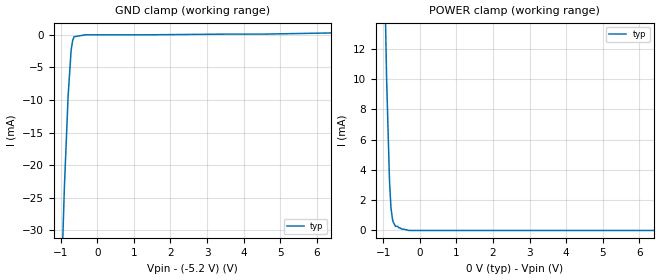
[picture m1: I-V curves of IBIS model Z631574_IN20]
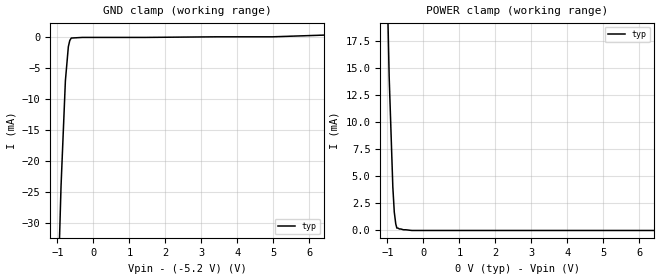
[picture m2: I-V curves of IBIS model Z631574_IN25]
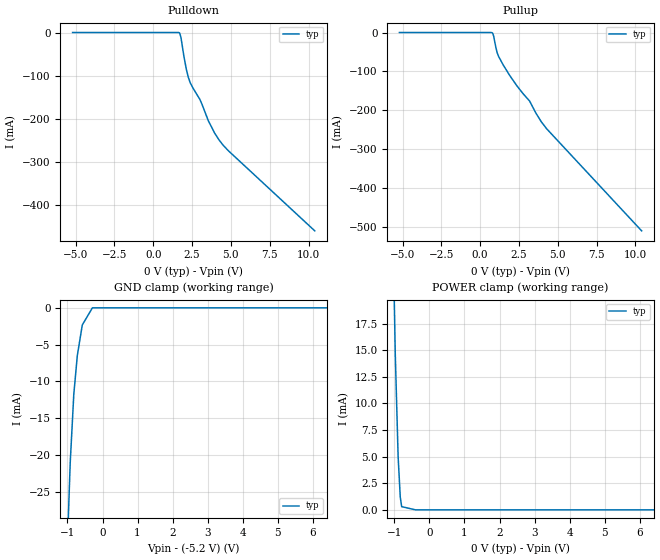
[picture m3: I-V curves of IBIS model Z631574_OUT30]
| YOU ARE ONLY AUTHORIZED TO USE THIS SOFTWARE
| ACCORDING TO LICENSOR'S LICENSE RESTRICTIONS.
[IBIS Ver] 3.1
[File Name] mc10ep016fa_-52.ibs
[File Rev] 2.0
[Source] Measured and created by ICX Technology
[Date] Wednesday 11/22/00 2:13:50 PM
[Copyright]
| (C) COPYRIGHT 1993-2000
| MENTOR GRAPHICS CORPORATION
| ICX STANDARD LIBRARY, ICX PROJECT MODELING,
| ICX CUSTOM MODELING, ICX VENDOR MODEL
| ALL RIGHTS RESERVED.
| THE FOLLOWING ARE TRADEMARKS OR SERVICE MARKS OF
| MENTOR GRAPHICS CORPORATION:ICX (R), ICX STANDARD
| LIBRARY(R), ICX PROJECT MODELING(R), ICX CUSTOM
| MODELING(R), qualityIBIS(TM), MODELVIEWER(TM),
| AND MODELEDITOR(TM)
| ALL COPIES OF SOFTWARE, INCLUDING BUT NOT LIMITED TO
| ANY MODIFICATIONS, ENHANCEMENTS OR DERIVATIVE WORKS,
| MUST CONTAIN ALL MENTOR GRAPHICS CORPORATION'S
| NOTICES AND LEGENDS, INCLUDING THOSE EMBEDDED IN
| SOFTWARE AND THOSE AFFIXED TO SOFTWARE MEDIUM
| AND CONTAINER, AS RECEIVED FROM MENTOR GRAPHICS
| CORPORATION.
|  ZAP Model Builder 2.8
[Component] MC10EP016FA_-52
[Manufacturer] OnSemiconductor
[Package]
| variable   typ   min   max
R_pkg  .067ohms NA NA
L_pkg  4.211nH NA NA
C_pkg  1.002pF NA NA
[Pin] signal_name  model_name  R_pin  L_pin C_pin
1 VCC POWER .065 3.973n .928p
2 Q3 Z631574_OUT30 .066 4.127n .978p
3 Q4 Z631574_OUT30 .068 4.288n 1.027p
4 Q5 Z631574_OUT30 .069 4.455n 1.077p
5 Q6 Z631574_OUT30 .069 4.455n 1.077p
6 Q7 Z631574_OUT30 .068 4.288n 1.027p
7 TCLD Z631574_IN25 .066 4.127n .978p
8 VCC POWER .065 3.973n .928p
9 VEE POWER .065 3.973n .928p
10 COUT Z631574_OUT30 .066 4.127n .978p
11 _COUT Z631574_OUT30 .068 4.288n 1.027p
12 _TC Z631574_OUT30 .069 4.455n 1.077p
13 VCC POWER .069 4.455n 1.077p
14 P7 Z631574_IN20 .068 4.288n 1.027p
15 P6 Z631574_IN20 .066 4.127n .978p
16 P5 Z631574_IN20 .065 3.973n .928p
17 P4 Z631574_IN20 .065 3.973n .928p
18 P3 Z631574_IN20 .066 4.127n .978p
19 P2 Z631574_IN20 .068 4.288n 1.027p
20 P1 Z631574_IN20 .069 4.455n 1.077p
21 P0 Z631574_IN20 .069 4.455n 1.077p
22 CLK Z631574_IN25 .068 4.288n 1.027p
23 _CLK Z631574_IN25 .066 4.127n .978p
24 VBB POWER .065 3.973n .928p
25 _PE Z631574_IN25 .065 3.973n .928p
26 _CE Z631574_IN25 .066 4.127n .978p
27 MR Z631574_IN25 .068 4.288n 1.027p
28 VEE POWER .069 4.455n 1.077p
29 Q0 Z631574_OUT30 .069 4.455n 1.077p
30 Q1 Z631574_OUT30 .068 4.288n 1.027p
31 Q2 Z631574_OUT30 .066 4.127n .978p
32 VCC POWER .065 3.973n .928p
[Diff Pin] inv_pin vdiff tdelay_typ tdelay_min tdelay_max
10 11 NA NA NA NA
22 23 NA NA NA NA
| Models and submodels in the file (3): Z631574_IN20 (Input_ECL), Z631574_IN25 (Input_ECL), Z631574_OUT30 (Output_ECL)
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| (C) COPYRIGHT 1993-2000
| MENTOR GRAPHICS CORPORATION
| ICX STANDARD LIBRARY, ICX PROJECT MODELING,
| ICX CUSTOM MODELING, ICX VENDOR MODEL
| ALL RIGHTS RESERVED.
| THE FOLLOWING ARE TRADEMARKS OR SERVICE MARKS OF
| MENTOR GRAPHICS CORPORATION:ICX (R), ICX STANDARD
| LIBRARY(R), ICX PROJECT MODELING(R), ICX CUSTOM
| MODELING(R), qualityIBIS(TM), MODELVIEWER(TM),
| AND MODELEDITOR(TM)
| ALL COPIES OF SOFTWARE, INCLUDING BUT NOT LIMITED TO
| ANY MODIFICATIONS, ENHANCEMENTS OR DERIVATIVE WORKS,
| MUST CONTAIN ALL MENTOR GRAPHICS CORPORATION'S
| NOTICES AND LEGENDS, INCLUDING THOSE EMBEDDED IN
| SOFTWARE AND THOSE AFFIXED TO SOFTWARE MEDIUM
| AND CONTAINER, AS RECEIVED FROM MENTOR GRAPHICS
| CORPORATION.
| Model Application Version 1.89 2/18/99.
[Model] Z631574_IN20
Model_type Input_ECL
Vinl = -1.545V
Vinh = -1.145V
C_comp 3.000pF NA NA
| variable typ   min   max
[Voltage Range] -5.200V NA NA
[GND Clamp Reference] -5.200V NA NA
[POWER Clamp Reference] 0.000V NA NA
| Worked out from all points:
|   GND clamp passes 1 mA (typ) near -0.68 V on its own axis
|   POWER clamp passes 1 mA (typ) near -0.76 V on its own axis
[GND Clamp]
-5.2V     -794.4mA   NA         NA
-901mV    -23.1mA    NA         NA
-800mV    -9.3mA     NA         NA
-719mV    -2.4mA     NA         NA
-678mV    -900uA     NA         NA
-638mV    -300uA     NA         NA
-319mV    0A         NA         NA
1.45V     0A         NA         NA
3.477V    100uA      NA         NA
4.51V     100uA      NA         NA
10.4V     669.9uA    NA         NA
[POWER Clamp]
-5.2V     700mA      NA         NA
-1.054V   28.83mA    NA         NA
-912mV    10.15mA    NA         NA
-831mV    3.253mA    NA         NA
-790mV    1.457mA    NA         NA
-750mV    760.7uA    NA         NA
-730mV    562.7uA    NA         NA
-669mV    274.5uA    NA         NA
-608mV    274.5uA    NA         NA
-496.5mV  90.13uA    NA         NA
-297.3mV  0A         NA         NA
10.4V     0A         NA         NA
| (C) COPYRIGHT 1993-2000
| MENTOR GRAPHICS CORPORATION
| ICX STANDARD LIBRARY, ICX PROJECT MODELING,
| ICX CUSTOM MODELING, ICX VENDOR MODEL
| ALL RIGHTS RESERVED.
| THE FOLLOWING ARE TRADEMARKS OR SERVICE MARKS OF
| MENTOR GRAPHICS CORPORATION:ICX (R), ICX STANDARD
| LIBRARY(R), ICX PROJECT MODELING(R), ICX CUSTOM
| MODELING(R), qualityIBIS(TM), MODELVIEWER(TM),
| AND MODELEDITOR(TM)
| ALL COPIES OF SOFTWARE, INCLUDING BUT NOT LIMITED TO
| ANY MODIFICATIONS, ENHANCEMENTS OR DERIVATIVE WORKS,
| MUST CONTAIN ALL MENTOR GRAPHICS CORPORATION'S
| NOTICES AND LEGENDS, INCLUDING THOSE EMBEDDED IN
| SOFTWARE AND THOSE AFFIXED TO SOFTWARE MEDIUM
| AND CONTAINER, AS RECEIVED FROM MENTOR GRAPHICS
| CORPORATION.
| Model Application Version 1.89 2/18/99.
[Model] Z631574_IN25
Model_type Input_ECL
Vinl = -1.545V
Vinh = -1.145V
C_comp 3.000pF NA NA
| variable typ   min   max
[Voltage Range] -5.200V NA NA
[GND Clamp Reference] -5.200V NA NA
[POWER Clamp Reference] 0.000V NA NA
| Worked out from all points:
|   GND clamp passes 1 mA (typ) near -0.68 V on its own axis
|   POWER clamp passes 1 mA (typ) near -0.78 V on its own axis
[GND Clamp]
-5.2V     -883.8mA   NA         NA
-901mV    -24mA      NA         NA
-780mV    -7mA       NA         NA
-698mV    -1.5mA     NA         NA
-658mV    -500uA     NA         NA
-617mV    -100uA     NA         NA
-308.5mV  0A         NA         NA
1.43V     0A         NA         NA
3.437V    100uA      NA         NA
4.987V    100uA      NA         NA
10.4V     1.147mA    NA         NA
[POWER Clamp]
-5.2V     665.3mA    NA         NA
-953mV    14.17mA    NA         NA
-851mV    3.994mA    NA         NA
-811mV    1.702mA    NA         NA
-770mV    609.8uA    NA         NA
-739.5mV  221.6uA    NA         NA
-668.5mV  137.3uA    NA         NA
-324mV    0A         NA         NA
10.4V     0A         NA         NA
| (C) COPYRIGHT 1993-2000
| MENTOR GRAPHICS CORPORATION
| ICX STANDARD LIBRARY, ICX PROJECT MODELING,
| ICX CUSTOM MODELING, ICX VENDOR MODEL
| ALL RIGHTS RESERVED.
| THE FOLLOWING ARE TRADEMARKS OR SERVICE MARKS OF
| MENTOR GRAPHICS CORPORATION:ICX (R), ICX STANDARD
| LIBRARY(R), ICX PROJECT MODELING(R), ICX CUSTOM
| MODELING(R), qualityIBIS(TM), MODELVIEWER(TM),
| AND MODELEDITOR(TM)
| ALL COPIES OF SOFTWARE, INCLUDING BUT NOT LIMITED TO
| ANY MODIFICATIONS, ENHANCEMENTS OR DERIVATIVE WORKS,
| MUST CONTAIN ALL MENTOR GRAPHICS CORPORATION'S
| NOTICES AND LEGENDS, INCLUDING THOSE EMBEDDED IN
| SOFTWARE AND THOSE AFFIXED TO SOFTWARE MEDIUM
| AND CONTAINER, AS RECEIVED FROM MENTOR GRAPHICS
| CORPORATION.
| Model Application Version 1.89 2/18/99.
[Model] Z631574_OUT30
Model_type Output_ECL
Vref=-2.000V
Rref=50.00ohms
Cref=0.000F
Vmeas=-1.345V
C_comp 8.000pF NA NA
| variable typ   min   max
[Voltage Range] -5.200V NA NA
[POWER Clamp Reference] 0.000V NA NA
[Pullup Reference] 0.000V NA NA
[Pulldown Reference] 0.000V NA NA
[GND Clamp Reference] -5.200V NA NA
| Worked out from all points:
|   POWER clamp passes 1 mA (typ) near -0.82 V on its own axis
[GND Clamp]
-5.2V     -617.9mA   NA         NA
-922mV    -21.13mA   NA         NA
-820mV    -11.83mA   NA         NA
-719mV    -6.5mA     NA         NA
-577mV    -2.333mA   NA         NA
-288.5mV  0A         NA         NA
10.4V     0A         NA         NA
[Pulldown]
-5.2V     0A         NA         NA
1.703V    -1.6mA     NA         NA
1.784V    -11.8mA    NA         NA
1.966V    -53.9mA    NA         NA
2.128V    -85.1mA    NA         NA
2.25V     -103.2mA   NA         NA
2.371V    -115.7mA   NA         NA
3V        -154.9mA   NA         NA
3.547V    -204.5mA   NA         NA
4.236V    -248.9mA   NA         NA
4.824V    -273.4mA   NA         NA
10.4V     -459.3mA   NA         NA
[Pullup]
-5.2V     0A         NA         NA
791mV     -1.2mA     NA         NA
872mV     -9.8mA     NA         NA
1.014V    -39.1mA    NA         NA
1.095V    -52.1mA    NA         NA
1.48V     -82.9mA    NA         NA
2.351V    -136mA     NA         NA
3.183V    -175.8mA   NA         NA
3.588V    -206.6mA   NA         NA
3.932V    -228.7mA   NA         NA
4.277V    -246.7mA   NA         NA
10.4V     -508.8mA   NA         NA
[POWER Clamp]
-5.2V     755.7mA    NA         NA
-973mV    14.6mA     NA         NA
-892mV    5mA        NA         NA
-831mV    1.2mA      NA         NA
-791mV    300uA      NA         NA
-395.5mV  0A         NA         NA
10.4V     0A         NA         NA
[Ramp]
| variable typ min max
dV/dt_r 482.6m/149.7p NA NA
dV/dt_f 482.6m/142.2p NA NA
R_load = 50.00Ohms
